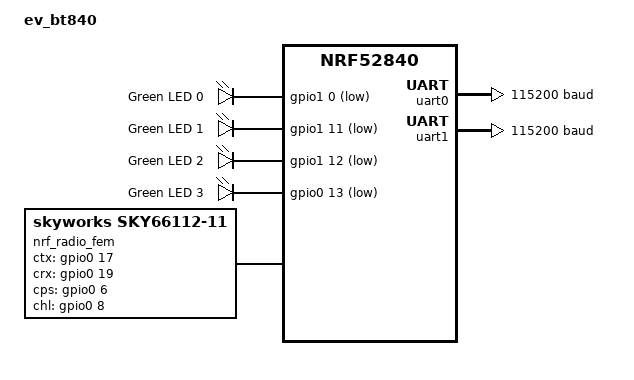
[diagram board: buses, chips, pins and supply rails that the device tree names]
// Copyright (c) 2023 Nordic Semiconductor ASA
// SPDX-License-Identifier: Apache-2.0

/dts-v1/;
#include <nordic/nrf52840_qiaa.dtsi>
#include "ev_bt840-pinctrl.dtsi"

/ {
	model = "ev_bt840";
	compatible = "fanstel,ev-bt840";

	chosen {
		zephyr,sram = &sram0;
		zephyr,flash = &flash0;
		zephyr,code-partition = &slot0_partition;
	};

	leds {
		compatible = "gpio-leds";
		led0: led_0 {
			gpios = <&gpio1 0 GPIO_ACTIVE_LOW>;
			label = "Green LED 0";
		};
		led1: led_1 {
			gpios = <&gpio1 11 GPIO_ACTIVE_LOW>;
			label = "Green LED 1";
		};
		led2: led_2 {
			gpios = <&gpio1 12 GPIO_ACTIVE_LOW>;
			label = "Green LED 2";
		};
		led3: led_3 {
			gpios = <&gpio0 13 GPIO_ACTIVE_LOW>;
			label = "Green LED 3";
		};
	};

	nrf_radio_fem: radio_fem {
		compatible = "skyworks,sky66112-11", "generic-fem-two-ctrl-pins";
		ctx-gpios = <&gpio0 17 GPIO_ACTIVE_HIGH>;
		crx-gpios = <&gpio0 19 GPIO_ACTIVE_HIGH>;
		cps-gpios = <&gpio0 6 GPIO_ACTIVE_HIGH>;
		chl-gpios = <&gpio0 8 GPIO_ACTIVE_HIGH>;
	};

	aliases {
		led0 = &led0;
		led1 = &led1;
		led2 = &led2;
		led3 = &led3;
	};
};

&gpiote {
	status = "okay";
};

&gpio0 {
	status = "okay";
};

&gpio1 {
	status = "okay";
};

&uart0 {
	compatible = "nordic,nrf-uarte";
	status = "okay";
	current-speed = <115200>;
	pinctrl-0 = <&uart0_default>;
	pinctrl-1 = <&uart0_sleep>;
	pinctrl-names = "default", "sleep";
};

&uart1 {
	status = "okay";
	current-speed = <115200>;
	pinctrl-0 = <&uart1_default>;
	pinctrl-1 = <&uart1_sleep>;
	pinctrl-names = "default", "sleep";
};

&flash0 {
	partitions {
		compatible = "fixed-partitions";
		#address-cells = <1>;
		#size-cells = <1>;

		boot_partition: partition@0 {
			label = "mcuboot";
			reg = <0x0 0xc000>;
		};
		slot0_partition: partition@c000 {
			label = "image-0";
			reg = <0xc000 0x72000>;
		};
		slot1_partition: partition@7e000 {
			label = "image-1";
			reg = <0x7e000 0x72000>;
		};
		scratch_partition: partition@f0000 {
			label = "image-scratch";
			reg = <0xf0000 0xa000>;
		};
		storage_partition: partition@fa000 {
			label = "storage";
			reg = <0xfa000 0x6000>;
		};
	};
};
